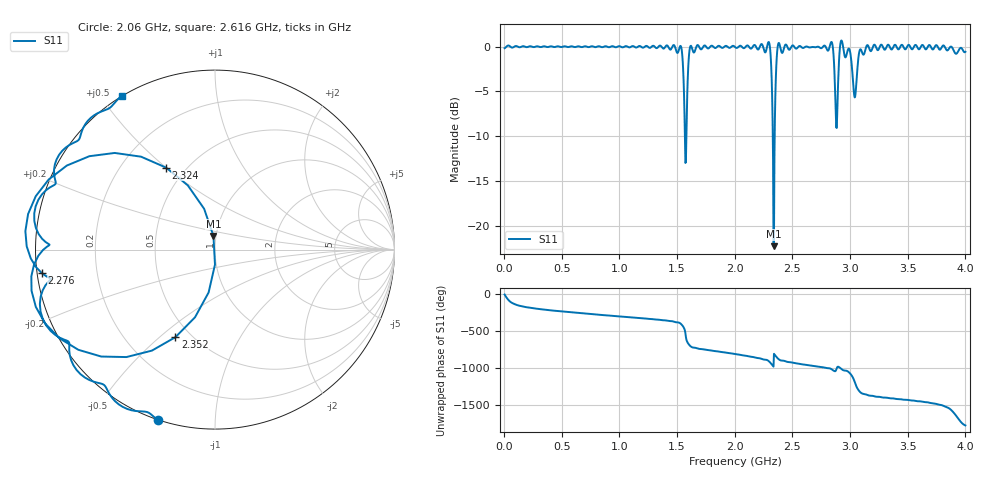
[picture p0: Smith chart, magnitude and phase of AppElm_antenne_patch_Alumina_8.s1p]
! TOUCHSTONE file generated by CST MICROWAVE STUDIO
! Date and time: Thu Jun  9 15:37:39 2022
! Project name: AppElm_antenne_patch_Alumina.cst
! Parameters = {L=30.5; W=41.8; e=0.035; h=1.6; lambda=0.190476; ls=90; w0=1.12; w1=0.373; ws=99; y0=14; y1=10}
! Header version: 2018
! Port assignment regex: !\s*Touchstone port\s*([0-9]+)\s*=\s*(CST MWS port|CST DS port)\s*([0-9]+|Zmin|Zmax)\s*\(\"(.*)\"\)(\s*mode\s*([0-9]+))?.*
! Touchstone port assignment:
! Touchstone port 1 = CST MWS port 1 ("")
# GHz S MA R 50
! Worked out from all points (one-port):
!   1000 points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, 4 MHz to 4 GHz, reference 50 ohm
!   lowest |S11| = -22.3 dB at 2.336 GHz (marker M1), VSWR 1.17, Z = 48.6 + j7.48 ohm
!   |S11| at or under -10 dB: 1.568 GHz to 1.58 GHz (12.67 MHz wide, 0.805 % of centre); 2.33 GHz to 2.346 GHz (16.57 MHz wide, 0.709 % of centre)
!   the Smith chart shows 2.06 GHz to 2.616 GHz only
!   S11 on the Smith chart (normalised r, x): 2.06 GHz: -0.00, -0.72; 2.276 GHz: 0.01, -0.07; 2.324 GHz: 0.39, +0.50; 2.352 GHz: 0.41, -0.56; 2.616 GHz: -0.00, +0.56
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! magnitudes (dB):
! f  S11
! 4 MHz  -0.2
! 504 MHz  0.0
! 1.004 GHz  0.0
! 1.504 GHz  -0.7
! 1.536 GHz  -0.1
! 1.572 GHz  -13.0
! 1.588 GHz  -5.3
! 1.608 GHz  -0.4
! 1.624 GHz  0.0
! 2.004 GHz  -0.1
! 2.06 GHz  0.0
! 2.276 GHz  -0.2
! 2.304 GHz  0.0
! 2.324 GHz  -5.5
! 2.336 GHz  -22.3
! 2.352 GHz  -5.4
! 2.368 GHz  -0.5
! 2.38 GHz  0.4
! 2.504 GHz  0.1
! 2.616 GHz  0.0
! 2.836 GHz  0.5
! 2.88 GHz  -9.0
! 2.924 GHz  0.7
! 3.004 GHz  -0.9
! 3.04 GHz  -5.7
! 3.092 GHz  -0.3
! 3.504 GHz  0.2
! 4 GHz  -0.6
